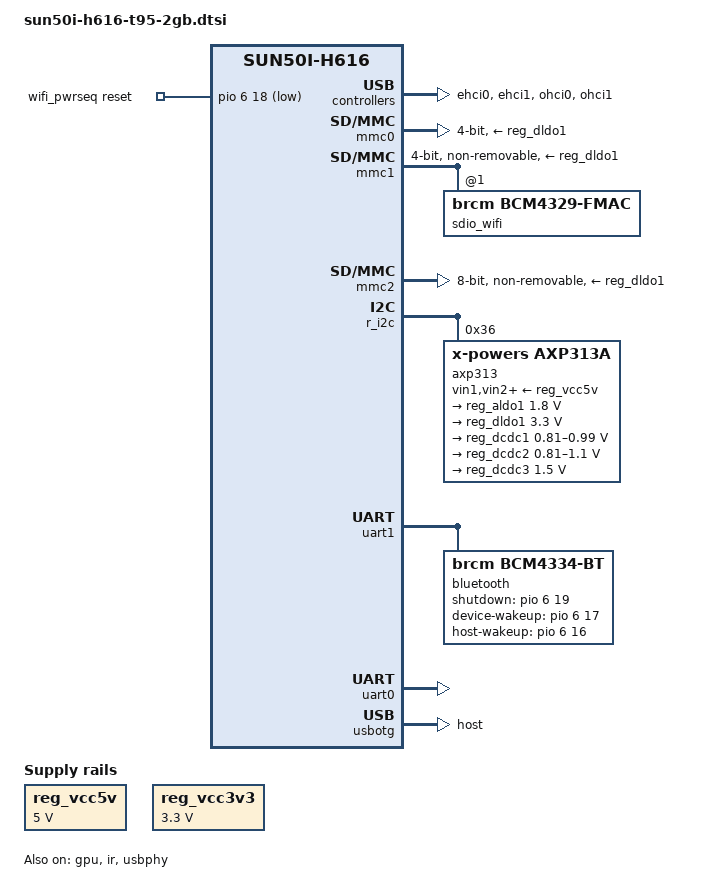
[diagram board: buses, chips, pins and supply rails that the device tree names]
// SPDX-License-Identifier: (GPL-2.0+ OR MIT)
/*
 * T95 H616 TV box (2 GB DDR3, AXP313A-class PMIC on R_I2C @ 0x36):
 * board hardware that exists in plain mainline. Derived from the vendor
 * BSP device tree and sys_config.fex in reference/vendor, following the
 * layout of mainline AXP313A TV boxes (Transpeed 8K618-T).
 */

#include "sun50i-h616-cpu-opp.dtsi"
#include <dt-bindings/gpio/gpio.h>
#include <dt-bindings/interrupt-controller/arm-gic.h>

/ {
	aliases {
		ethernet1 = &sdio_wifi;
		serial0 = &uart0;
	};

	chosen {
		stdout-path = "serial0:115200n8";
	};

	reg_vcc5v: vcc5v {
		/* board wide 5V supply directly from the DC input */
		compatible = "regulator-fixed";
		regulator-name = "vcc-5v";
		regulator-min-microvolt = <5000000>;
		regulator-max-microvolt = <5000000>;
		regulator-always-on;
	};

	reg_vcc3v3: vcc3v3 {
		/* discrete 3.3V regulator */
		compatible = "regulator-fixed";
		regulator-name = "vcc-3v3";
		regulator-min-microvolt = <3300000>;
		regulator-max-microvolt = <3300000>;
		regulator-always-on;
	};

	wifi_pwrseq: pwrseq {
		compatible = "mmc-pwrseq-simple";
		clocks = <&rtc CLK_OSC32K_FANOUT>;
		clock-names = "ext_clock";
		pinctrl-0 = <&x32clk_fanout_pin>;
		pinctrl-names = "default";
		reset-gpios = <&pio 6 18 GPIO_ACTIVE_LOW>; /* PG18, vendor wlan_regon */
	};
};

&cpu0 {
	cpu-supply = <&reg_dcdc2>;
};

&ehci0 {
	status = "okay";
};

&ehci1 {
	status = "okay";
};

&gpu {
	mali-supply = <&reg_dcdc1>;
	status = "okay";
};

&ir {
	status = "okay";
};

&mmc0 {
	vmmc-supply = <&reg_dldo1>;
	/* card-detect pin not confirmed from vendor files: poll instead */
	broken-cd;
	disable-wp;
	bus-width = <4>;
	status = "okay";
};

&mmc1 {
	vmmc-supply = <&reg_dldo1>;
	vqmmc-supply = <&reg_aldo1>;
	mmc-pwrseq = <&wifi_pwrseq>;
	bus-width = <4>;
	non-removable;
	status = "okay";

	/*
	 * Wi-Fi is a Broadcom BCM4334-class SDIO module (AW859A) on boxes that
	 * have Bluetooth; XR819 boxes (2.4 GHz only, no Bluetooth) use the
	 * out-of-tree xradio driver, which matches by SDIO id and ignores this.
	 */
	sdio_wifi: wifi@1 {
		compatible = "brcm,bcm4329-fmac";
		reg = <1>;
	};
};

&mmc2 {
	vmmc-supply = <&reg_dldo1>;
	vqmmc-supply = <&reg_aldo1>;
	bus-width = <8>;
	non-removable;
	cap-mmc-hw-reset;
	mmc-ddr-1_8v;
	mmc-hs200-1_8v;
	status = "okay";
};

&ohci0 {
	status = "okay";
};

&ohci1 {
	status = "okay";
};

&r_i2c {
	status = "okay";

	axp313: pmic@36 {
		compatible = "x-powers,axp313a";
		reg = <0x36>;
		#interrupt-cells = <1>;
		interrupt-controller;

		vin1-supply = <&reg_vcc5v>;
		vin2-supply = <&reg_vcc5v>;
		vin3-supply = <&reg_vcc5v>;

		regulators {
			reg_aldo1: aldo1 {
				regulator-always-on;
				regulator-min-microvolt = <1800000>;
				regulator-max-microvolt = <1800000>;
				regulator-name = "vcc-1v8";
			};

			reg_dldo1: dldo1 {
				regulator-always-on;
				regulator-min-microvolt = <3300000>;
				regulator-max-microvolt = <3300000>;
				regulator-name = "vcc-3v3-io-mmc";
			};

			reg_dcdc1: dcdc1 {
				regulator-always-on;
				regulator-min-microvolt = <810000>;
				regulator-max-microvolt = <990000>;
				regulator-name = "vdd-gpu-sys";
			};

			reg_dcdc2: dcdc2 {
				regulator-always-on;
				regulator-min-microvolt = <810000>;
				regulator-max-microvolt = <1100000>;
				regulator-name = "vdd-cpu";
			};

			reg_dcdc3: dcdc3 {
				regulator-always-on;
				/* DDR3 (not DDR3L): vendor dts fixes this rail at 1.5V */
				regulator-min-microvolt = <1500000>;
				regulator-max-microvolt = <1500000>;
				regulator-name = "vdd-dram";
			};
		};
	};
};

&pio {
	vcc-pc-supply = <&reg_aldo1>;
	vcc-pg-supply = <&reg_dldo1>;
	vcc-ph-supply = <&reg_dldo1>;
	vcc-pi-supply = <&reg_dldo1>;
};

/* Bluetooth of the BCM4334-class module; vendor: bt_rst_n PG19, bt_wake PG17,
 * bt_hostwake PG16, UART1 PG6-PG9 with flow control. Absent on XR819 boxes,
 * where the node simply fails to probe. */
&uart1 {
	pinctrl-names = "default";
	pinctrl-0 = <&uart1_pins>, <&uart1_rts_cts_pins>;
	uart-has-rtscts;
	status = "okay";

	bluetooth {
		compatible = "brcm,bcm4334-bt";
		clocks = <&rtc CLK_OSC32K_FANOUT>;
		clock-names = "lpo";
		shutdown-gpios = <&pio 6 19 GPIO_ACTIVE_HIGH>;
		device-wakeup-gpios = <&pio 6 17 GPIO_ACTIVE_HIGH>;
		host-wakeup-gpios = <&pio 6 16 GPIO_ACTIVE_HIGH>;
		max-speed = <1500000>;
	};
};

&uart0 {
	pinctrl-names = "default";
	pinctrl-0 = <&uart0_ph_pins>;
	status = "okay";
};

&usbotg {
	dr_mode = "host";
	status = "okay";
};

&usbphy {
	status = "okay";
};
